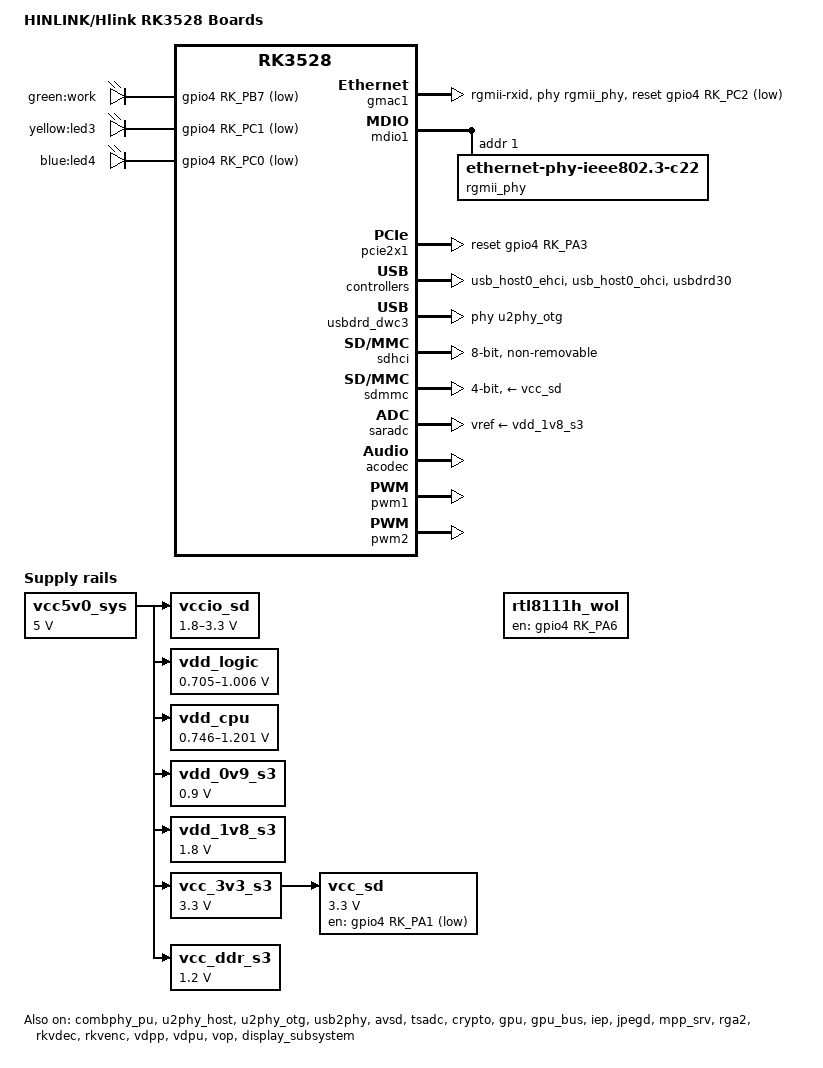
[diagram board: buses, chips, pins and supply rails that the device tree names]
// SPDX-License-Identifier: (GPL-2.0+ OR MIT)
/*
* Copyright (c) 2022 Rockchip Electronics Co., Ltd.
*
*/

#include "rk3528.dtsi"
#include <dt-bindings/gpio/gpio.h>
#include <dt-bindings/input/rk-input.h>
#include <dt-bindings/pinctrl/rockchip.h>
#include "rk3528-linux.dtsi"
#include "../rockchip-drm-vvop.dtsi"
#include "rk3528-opp.dtsi"

/ {
	model = "HINLINK/Hlink RK3528 Boards";
	compatible = "hinlink,rk3528", "rockchip,rk3528";

	aliases {
		ethernet0 = &gmac1;
		/delete-property/ ethernet1;
		/* ethernet1 = &pcie-eth; */

		mmc0 = &sdmmc;
		mmc1 = &sdhci;

		led-boot = &led_work;
		led-failsafe = &led_work;
		led-running = &led_work;
		led-upgrade = &led_work;
	};

	vcc5v0_sys: vcc5v0-sys {
		compatible = "regulator-fixed";
		regulator-name = "vcc5v0_sys";
		regulator-always-on;
		regulator-boot-on;
		regulator-min-microvolt = <5000000>;
		regulator-max-microvolt = <5000000>;
	};

	/omit-if-no-ref/
	vccio_sd: vccio-sd {
		compatible = "regulator-gpio";
		regulator-name = "vccio_sd";
		regulator-min-microvolt = <1800000>;
		regulator-max-microvolt = <3300000>;
		gpios = <&gpio4 RK_PB6 GPIO_ACTIVE_HIGH>;
		vin-supply = <&vcc5v0_sys>;
		states = <1800000 0x0
			3300000 0x1>;
	};

	vdd_logic: vdd-logic {
		compatible = "pwm-regulator";
		pwms = <&pwm2 0 5000 1>;
		regulator-name = "vdd_logic";
		regulator-min-microvolt = <705000>;
		regulator-max-microvolt = <1006000>;
		regulator-init-microvolt = <900000>;
		regulator-always-on;
		regulator-boot-on;
		regulator-ramp-delay = <6001>;
		regulator-settling-time-up-us = <250>;
		pwm-supply = <&vcc5v0_sys>;
		status = "okay";
	};

	vdd_cpu: vdd-cpu {
		compatible = "pwm-regulator";
		pwms = <&pwm1 0 5000 1>;
		regulator-name = "vdd_cpu";
		regulator-min-microvolt = <746000>;
		regulator-max-microvolt = <1201000>;
		regulator-init-microvolt = <953000>;
		regulator-always-on;
		regulator-boot-on;
		regulator-ramp-delay = <6001>;
		regulator-settling-time-up-us = <250>;
		pwm-supply = <&vcc5v0_sys>;
		status = "okay";
	};

	vdd_0v9_s3: vdd-0v9-s3 {
		compatible = "regulator-fixed";
		regulator-name = "vdd_0v9_s3";
		regulator-always-on;
		regulator-boot-on;
		regulator-min-microvolt = <900000>;
		regulator-max-microvolt = <900000>;
		vin-supply = <&vcc5v0_sys>;
	};

	vdd_1v8_s3: vdd-1v8-s3 {
		compatible = "regulator-fixed";
		regulator-name = "vdd_1v8_s3";
		regulator-always-on;
		regulator-boot-on;
		regulator-min-microvolt = <1800000>;
		regulator-max-microvolt = <1800000>;
		vin-supply = <&vcc5v0_sys>;
	};

	vcc_3v3_s3: vcc-3v3-s3 {
		compatible = "regulator-fixed";
		regulator-name = "vcc_3v3_s3";
		regulator-always-on;
		regulator-boot-on;
		regulator-min-microvolt = <3300000>;
		regulator-max-microvolt = <3300000>;
		vin-supply = <&vcc5v0_sys>;
	};

	/omit-if-no-ref/
	vcc_sd: vcc-sd {
		compatible = "regulator-fixed";
		gpio = <&gpio4 RK_PA1 GPIO_ACTIVE_LOW>;
		regulator-name = "vcc_sd";
		regulator-min-microvolt = <3300000>;
		regulator-max-microvolt = <3300000>;
		vin-supply = <&vcc_3v3_s3>;
	};

	vcc_ddr_s3: vcc-ddr-s3 {
		compatible = "regulator-fixed";
		regulator-name = "vcc_ddr_s3";
		regulator-always-on;
		regulator-boot-on;
		regulator-min-microvolt = <1200000>;
		regulator-max-microvolt = <1200000>;
		vin-supply = <&vcc5v0_sys>;
	};

	rtl8111h_wol {
		compatible = "regulator-fixed";
		regulator-name = "rtl8111h_wol";
		regulator-always-on;
		regulator-boot-on;
		enable-active-high;
		gpios = <&gpio4 RK_PA6 GPIO_ACTIVE_HIGH>;
	};

	leds {
		compatible = "gpio-leds";
		pinctrl-names = "default";
		pinctrl-0 =
			<&led_work_en>,
			<&led_yellow_en>,
			<&led_blue_en>;

		led_work: led-work {
			gpios = <&gpio4 RK_PB7 GPIO_ACTIVE_LOW>;
			label = "green:work";
			linux,default-trigger = "heartbeat";
		};
		led-yellow {
			gpios = <&gpio4 RK_PC1 GPIO_ACTIVE_LOW>;
			label = "yellow:led3";
		};
		led-blue {
			gpios = <&gpio4 RK_PC0 GPIO_ACTIVE_LOW>;
			label = "blue:led4";
		};
	};
};

&gmac1 {
	/* Use rgmii-rxid mode to disable rx delay inside Soc */
	phy-mode = "rgmii-rxid";
	clock_in_out = "output";

	snps,reset-gpio = <&gpio4 RK_PC2 GPIO_ACTIVE_LOW>;
	snps,reset-active-low;
	/* Reset time is 20ms, 100ms for rtl8211f */
	snps,reset-delays-us = <0 20000 100000>;

	tx_delay = <0x3b>;
	/* rx_delay = <0x3f>; */

	pinctrl-names = "default";
	pinctrl-0 = <&rgmii_miim
			&rgmii_tx_bus2
			&rgmii_rx_bus2
			&rgmii_rgmii_clk
			&rgmii_rgmii_bus>;

	phy-handle = <&rgmii_phy>;
	status = "okay";
};

&mdio1 {
	rgmii_phy: phy@1 {
		compatible = "ethernet-phy-ieee802.3-c22";
		reg = <0x1>;
	};
};

&combphy_pu {
	rockchip,dis-u3otg0-port; /* disable USB3.0 */
	status = "okay";
};

&pcie2x1 {
	reset-gpios = <&gpio4 RK_PA3 GPIO_ACTIVE_HIGH>;
	status = "okay";
/*
	pcie@0 {
		reg = <0x00000000 0 0 0 0>;
		#address-cells = <3>;
		#size-cells = <2>;

		pcie-eth@0,0 {
			compatible = "pci10ec,8168";
			reg = <0x000000 0 0 0 0>;

			realtek,led-data = <0x870>;
		};
	};
*/
};

&u2phy_host {
	phy-supply = <&vcc5v0_sys>;
	status = "okay";
};

&u2phy_otg {
	vbus-supply = <&vcc5v0_sys>;
	rockchip,vbus-always-on;
	status = "okay";
};

&usb2phy {
	status = "okay";
};

&usb_host0_ehci {
	status = "okay";
};

&usb_host0_ohci {
	status = "okay";
};

&usbdrd30 {
	status = "okay";
};

&usbdrd_dwc3 {
	extcon = <&usb2phy>; // only dr_mode = "otg" need this */
	phys = <&u2phy_otg>; /* only USB2.0 */
	phy-names = "usb2-phy"; /* only USB2.0 */
	maximum-speed = "high-speed"; /* only USB2.0 */
	snps,dis_u2_susphy_quirk; /* only USB2.0 */
	status = "okay";
};

&sdhci {
	bus-width = <8>;
	cap-mmc-highspeed;
	mmc-hs200-1_8v;
	max-frequency = <200000000>;
	no-sd;
	no-sdio;
	non-removable;
	status = "okay";
};

&sdmmc {
	bus-width = <4>;
	cap-mmc-highspeed;
	cap-sd-highspeed;
	disable-wp;
	max-frequency = <150000000>;
	pinctrl-names = "default";
	pinctrl-0 = <&sdmmc_clk &sdmmc_cmd &sdmmc_det &sdmmc_bus4>;
	rockchip,default-sample-phase = <90>;
	supports-sd;
	vmmc-supply = <&vcc_sd>;
	vqmmc-supply = <&vccio_sd>;
	status = "okay";
};

&saradc {
	status = "okay";
	vref-supply = <&vdd_1v8_s3>;
};

&acodec {
	status = "okay";
};

&avsd {
	status = "okay";
};

&cpu0 {
	cpu-supply = <&vdd_cpu>;
};

&tsadc {
	status = "okay";
};

&crypto {
	status = "okay";
};

&dfi {
	status = "disabled";
};

&dmc {
	/**
	 * rockchip DMC not working, maybe vdd-logic pwm-regulator config wrong, disable it now
	 * (enable this will hangs whole system) 
	 */
	center-supply = <&vdd_logic>;
	status = "disabled";
};

&gpu {
	mali-supply = <&vdd_logic>;
	status = "okay";
};

&gpu_bus {
	bus-supply = <&vdd_logic>;
	status = "okay";
};

&iep {
	status = "okay";
};

&iep_mmu {
	status = "okay";
};

&jpegd {
	status = "okay";
};

&jpegd_mmu {
	status = "okay";
};

&mpp_srv {
	status = "okay";
};

&pwm1 {
	status = "okay";
};

&pwm2 {
	status = "okay";
};

&rga2 {
	status = "okay";
};

&rga2_mmu {
	status = "okay";
};

&rkvdec {
	status = "okay";
};

&rkvdec_mmu {
	status = "okay";
};

&rkvenc {
	status = "okay";
};

&rkvenc_mmu {
	status = "okay";
};

&rockchip_suspend {
	status = "okay";
	rockchip,sleep-debug-en = <1>;
	rockchip,virtual-poweroff = <1>;
	rockchip,sleep-mode-config = <
		(0
		| RKPM_SLP_ARMPD
		)
	>;
	rockchip,wakeup-config = <
		(0
		| RKPM_CPU0_WKUP_EN
		| RKPM_GPIO_WKUP_EN
		)
	>;
	rockchip,pwm-regulator-config = <
		(0
		| RKPM_PWM0_M0_REGULATOR_EN
		| RKPM_PWM1_M0_REGULATOR_EN
		)
	>;
};

&vdpp {
	status = "okay";
};

&vdpu {
	status = "okay";
};

&vdpu_mmu {
	status = "okay";
};

&vop {
	status = "okay";
};

&vop_mmu {
	status = "okay";
};

&display_subsystem {
	status = "okay";
};

&pinctrl {
	leds {
		led_work_en: led-work-en {
			rockchip,pins =
				<4 RK_PB7 RK_FUNC_GPIO &pcfg_pull_none>;
		};
		led_yellow_en: led-lan-en {
			rockchip,pins =
				<4 RK_PC1 RK_FUNC_GPIO &pcfg_pull_none>;
		};
		led_blue_en: led-wan-en {
			rockchip,pins =
				<4 RK_PC0 RK_FUNC_GPIO &pcfg_pull_none>;
		};
	};
};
